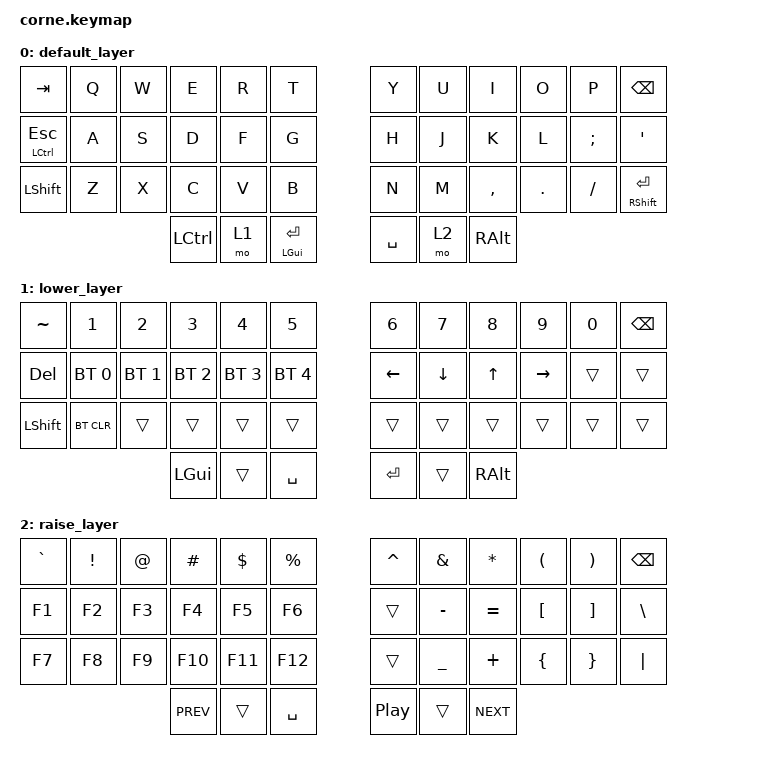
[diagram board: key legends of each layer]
/* 
 * Copyright (c) 2020 The ZMK Contributors
 *
 * SPDX-License-Identifier: MIT
 */

#include <behaviors.dtsi>
#include <dt-bindings/zmk/keys.h>
#include <dt-bindings/zmk/bt.h>

/ {
        keymap {
                compatible = "zmk,keymap";

                default_layer {
// -----------------------------------------------------------------------------------------
// |  TAB |  Q  |  W  |  E  |  R  |  T  |   |  Y  |  U   |  I  |  O  |  P  | BSPC |
// | ESC  |  A  |  S  |  D  |  F  |  G  |   |  H  |  J   |  K  |  L  |  ;  |  '   |
// | SHFT |  Z  |  X  |  C  |  V  |  B  |   |  N  |  M   |  ,  |  .  |  /  | ENT  |
//                    | CTRL| LWR | GUI |   | SPC | RSE  | ALT |
                        bindings = <
   &kp TAB &kp Q &kp W &kp E &kp R &kp T   &kp Y &kp U  &kp I     &kp O   &kp P    &kp BSPC
   &mt LCTRL ESC &kp A &kp S &kp D &kp F &kp G   &kp H &kp J  &kp K     &kp L   &kp SEMI &kp SQT
   &kp LSHFT &kp Z &kp X &kp C &kp V &kp B &kp N &kp M  &kp COMMA &kp DOT &kp FSLH &mt RSHIFT RET
                  &kp LCTRL &mo 1 &mt LGUI RET   &kp SPACE &mo 2 &kp RALT
                        >;
                };
                lower_layer {
// -----------------------------------------------------------------------------------------
// |  ~   |  1  |  2  |  3  |  4  |  5  |   |  6  |  7  |  8  |  9  |  0  | BSPC |
// | DEL  | BT1 | BT2 | BT3 | BT4 | BT5 |   | LFT | DWN |  UP | RGT |     |      |
// | SHFT |BT CLR|    |     |     |     |   |     |     |     |     |     |      |
//                    | GUI |     | SPC |   | ENT |     | ALT |
                        bindings = <
   &kp TILDE  &kp N1       &kp N2       &kp N3       &kp N4       &kp N5         &kp N6   &kp N7   &kp N8 &kp N9    &kp N0 &kp BSPC
   &kp DEL    &bt BT_SEL 0 &bt BT_SEL 1 &bt BT_SEL 2 &bt BT_SEL 3 &bt BT_SEL 4   &kp LEFT &kp DOWN &kp UP &kp RIGHT &trans &trans
   &kp LSHFT  &bt BT_CLR   &trans       &trans       &trans       &trans         &trans   &trans   &trans &trans    &trans &trans
                                    &kp LGUI     &trans       &kp SPACE      &kp RET  &trans   &kp RALT
                        >;
                };

                raise_layer {
// -----------------------------------------------------------------------------------------
// |  `   |  !  |  @  |  #  |  $  |  %  |   |  ^  |  &  |  *  |  (  |  )  | BSPC |
// |  F1  |  F2 |  F3 |  F4 |  F5 | F6  |   |     |  -  |  =  |  [  |  ]  |  \   |
// |  F7  |  F8 |  F9 | F10 | F11 | F12 |   |     |  _  |  +  |  {  |  }  | "|"  |
//                    | PREV|     | SPC |   | Play|     | NEXT|
                        bindings = <
   &kp GRAVE &kp EXCL &kp AT &kp HASH &kp DLLR &kp PRCNT   &kp CARET &kp AMPS  &kp ASTRK &kp LPAR &kp RPAR &kp BSPC
   &kp F1    &kp F2   &kp F3 &kp F4   &kp F5   &kp F6      &trans    &kp MINUS &kp EQUAL &kp LBKT &kp RBKT &kp BSLH
   &kp F7    &kp F8   &kp F9 &kp F10  &kp F11  &kp F12     &trans    &kp UNDER &kp PLUS  &kp LBRC &kp RBRC &kp PIPE
                             &kp C_PREV &trans   &kp SPACE   &kp C_PP  &trans    &kp C_NEXT
                        >;
                };
        };
};
